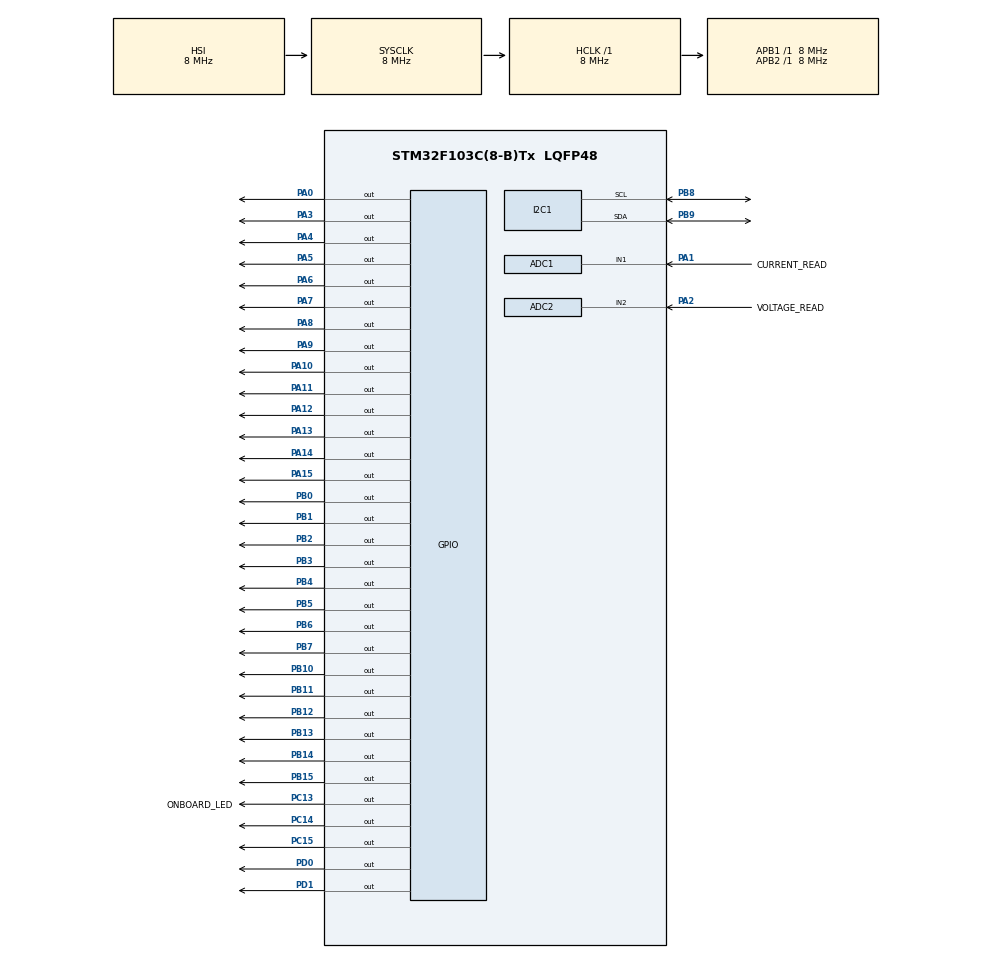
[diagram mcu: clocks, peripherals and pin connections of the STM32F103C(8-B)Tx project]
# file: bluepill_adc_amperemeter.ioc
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ADC1.Channel-4\#ChannelRegularConversion=ADC_CHANNEL_1
ADC1.ContinuousConvMode=DISABLE
ADC1.Mode=ADC_DUALMODE_REGSIMULT
ADC1.NbrOfConversion=1
ADC1.NbrOfConversionFlag=1
ADC1.Rank-4\#ChannelRegularConversion=1
ADC1.SamplingTime-4\#ChannelRegularConversion=ADC_SAMPLETIME_28CYCLES_5
ADC1.master=1
ADC2.Channel-7\#ChannelRegularConversion=ADC_CHANNEL_2
ADC2.ContinuousConvMode=DISABLE
ADC2.Mode=ADC_DUALMODE_REGSIMULT
ADC2.NbrOfConversion=1
ADC2.NbrOfConversionFlag=1
ADC2.Rank-7\#ChannelRegularConversion=1
ADC2.SamplingTime-7\#ChannelRegularConversion=ADC_SAMPLETIME_28CYCLES_5
I2C1.I2C_Mode=I2C_Fast
Mcu.Family=STM32F1
Mcu.Name=STM32F103C(8-B)Tx
Mcu.Package=LQFP48
NVIC.ADC1_2_IRQn=true\:0\:0\:false\:false\:true\:true\:true
NVIC.PriorityGroup=NVIC_PRIORITYGROUP_4
PA0-WKUP.Signal=GPIO_Output
PA1.GPIO_Label=CURRENT_READ
PA1.Signal=ADCx_IN1
PA10.Signal=GPIO_Output
PA11.Signal=GPIO_Output
PA12.Signal=GPIO_Output
PA13.Signal=GPIO_Output
PA14.Signal=GPIO_Output
PA15.Signal=GPIO_Output
PA2.GPIO_Label=VOLTAGE_READ
PA2.Signal=ADCx_IN2
PA3.Signal=GPIO_Output
PA4.Signal=GPIO_Output
PA5.Signal=GPIO_Output
PA6.Signal=GPIO_Output
PA7.Signal=GPIO_Output
PA8.Signal=GPIO_Output
PA9.Signal=GPIO_Output
PB0.Signal=GPIO_Output
PB1.Signal=GPIO_Output
PB10.Signal=GPIO_Output
PB11.Signal=GPIO_Output
PB12.Signal=GPIO_Output
PB13.Signal=GPIO_Output
PB14.Signal=GPIO_Output
PB15.Signal=GPIO_Output
PB2.Signal=GPIO_Output
PB3.Signal=GPIO_Output
PB4.Signal=GPIO_Output
PB5.Signal=GPIO_Output
PB6.Signal=GPIO_Output
PB7.Signal=GPIO_Output
PB8.Mode=I2C
PB8.Signal=I2C1_SCL
PB9.Mode=I2C
PB9.Signal=I2C1_SDA
PC13-TAMPER-RTC.GPIO_Label=ONBOARD_LED
PC13-TAMPER-RTC.GPIO_PuPd=GPIO_PULLUP
PC13-TAMPER-RTC.PinState=GPIO_PIN_SET
PC13-TAMPER-RTC.Signal=GPIO_Output
PC14-OSC32_IN.Signal=GPIO_Output
PC15-OSC32_OUT.Signal=GPIO_Output
PD0-OSC_IN.Signal=GPIO_Output
PD1-OSC_OUT.Signal=GPIO_Output
ProjectManager.HeapSize=0x200
ProjectManager.StackSize=0x400
ProjectManager.TargetToolchain=STM32CubeIDE
RCC.AHBFreq_Value=8000000
RCC.APB1Freq_Value=8000000
RCC.APB1TimFreq_Value=8000000
RCC.APB2Freq_Value=8000000
RCC.APB2TimFreq_Value=8000000
RCC.HCLKFreq_Value=8000000
RCC.SYSCLKFreq_VALUE=8000000
RCC.USBFreq_Value=8000000
SH.ADCx_IN1.0=ADC1_IN1,IN1
SH.ADCx_IN2.0=ADC2_IN2,IN2
VP_SYS_VS_ND.Mode=No_Debug
board=custom

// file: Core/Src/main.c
/* USER CODE BEGIN Header */
/**
  ******************************************************************************
  * @file           : main.c
  * @brief          : Main program body
  ******************************************************************************
  * @attention
  *
  * <h2><center>&copy; Copyright (c) 2021 STMicroelectronics.
  * All rights reserved.</center></h2>
  *
  * This software component is licensed by ST under BSD 3-Clause license,
  * the "License"; You may not use this file except in compliance with the
  * License. You may obtain a copy of the License at:
  *                        opensource.org/licenses/BSD-3-Clause
  *
  ******************************************************************************
  */
/* USER CODE END Header */
#include "main.h"

/* USER CODE BEGIN Includes */

#include <string.h>
#include "stdio.h"
#include "ssd1306.h"
#include "fonts.h"

/* USER CODE END Includes */

ADC_HandleTypeDef hadc1;
ADC_HandleTypeDef hadc2;

I2C_HandleTypeDef hi2c1;

/* USER CODE BEGIN PV */
char str_var[3];

uint16_t ADC_VAL[2];
float ADC_VOLT[2];

float result[2];
//float chargingCurrent = 0.00;
//float chargingVoltage = 0.00;

char ADC1_VAL_str[10];
char ADC2_VAL_str[10];

char ADC1_VOLT_str[10];
char ADC2_VOLT_str[10];

char chargingCurrent_str[10];
char chargingVoltage_str[10];

uint16_t var = 0;
float val = 0.0;

/* USER CODE END PV */

void SystemClock_Config(void);
static void MX_GPIO_Init(void);
static void MX_I2C1_Init(void);
static void MX_ADC1_Init(void);
static void MX_ADC2_Init(void);

/* USER CODE BEGIN 0 */

void ADC_Select_CH1 (void)
{
	ADC_ChannelConfTypeDef sConfig = {0};
	  /** Configure for the selected ADC regular channel its corresponding rank in the sequencer and its sample time.
	  */
	  sConfig.Channel = ADC_CHANNEL_1;
	  sConfig.Rank = 1;
	  sConfig.SamplingTime = ADC_SAMPLETIME_1CYCLE_5;
	  if (HAL_ADC_ConfigChannel(&hadc1, &sConfig) != HAL_OK)
	  {
	    Error_Handler();
	  }
}

void ADC_Select_CH2 (void)
{
	ADC_ChannelConfTypeDef sConfig = {0};
	  /** Configure for the selected ADC regular channel its corresponding rank in the sequencer and its sample time.
	  */
	  sConfig.Channel = ADC_CHANNEL_2;
	  sConfig.Rank = 1;
	  sConfig.SamplingTime = ADC_SAMPLETIME_1CYCLE_5;
	  if (HAL_ADC_ConfigChannel(&hadc1, &sConfig) != HAL_OK)
	  {
	    Error_Handler();
	  }
}

/* USER CODE END 0 */

int main(void)
{

  /* MCU Configuration--------------------------------------------------------*/

  /* Reset of all peripherals, Initializes the Flash interface and the Systick. */
  HAL_Init();

  /* Configure the system clock */
  SystemClock_Config();

  /* Initialize all configured peripherals */
  MX_GPIO_Init();
  MX_I2C1_Init();
  MX_ADC1_Init();
  MX_ADC2_Init();
  /* USER CODE BEGIN 2 */

  HAL_ADCEx_Calibration_Start(&hadc1);
  HAL_ADCEx_Calibration_Start(&hadc2);

  // Init lcd using one of the stm32HAL i2c typedefs
  if (ssd1306_Init(&hi2c1) != 0) {
    Error_Handler();
  }
  HAL_Delay(1000);

  ssd1306_Fill(Black);
  ssd1306_UpdateScreen(&hi2c1);

  HAL_Delay(1000);

  // Write data to local screenbuffer
  ssd1306_SetCursor(0, 0);
  ssd1306_WriteString("ssd1306", Font_11x18, White);

  ssd1306_SetCursor(0, 36);
  ssd1306_WriteString("4ilo", Font_11x18, White);

  // Draw rectangle on screen
  for (uint8_t i=0; i<28; i++) {
      for (uint8_t j=0; j<64; j++) {
          ssd1306_DrawPixel(100+i, 0+j, White);
      }
  }

  // Copy all data from local screenbuffer to the screen
  ssd1306_UpdateScreen(&hi2c1);

  /* USER CODE END 2 */

  /* Infinite loop */
  /* USER CODE BEGIN WHILE */
  while (1)
  {

/*
	  for (int var = 0; var < 100; ++var) {
		  sprintf(str_var,"%d", var);
		  ssd1306_Fill(Black);
		  ssd1306_SetCursor(0, 0);
		  ssd1306_WriteString(str_var, Font_11x18, White);
		  ssd1306_UpdateScreen(&hi2c1);

		  HAL_GPIO_TogglePin(ONBOARD_LED_GPIO_Port, ONBOARD_LED_Pin);

	  }
*/

	  var = val * 4096 / 3.3;
	  val += 0.1;
	  if (val >= 3.3) val = 0;

//	  ADC_Select_CH1();
	  HAL_ADC_Start(&hadc1);
	  HAL_ADC_PollForConversion(&hadc1, 1000);
	  ADC_VAL[0] = HAL_ADC_GetValue(&hadc1);
	  ADC_VOLT[0] = 3.300 / 4096 * ADC_VAL[0];
	  result[0] = (ADC_VOLT[0] * 1000 - 70.76) / 90.88;

	  sprintf(chargingCurrent_str, "%.2f", result[0]);
	  sprintf(ADC1_VOLT_str, "%.2f", ADC_VOLT[0]);
	  sprintf(ADC1_VAL_str, "%d", ADC_VAL[0]);
	  HAL_ADC_Stop(&hadc1);
	  HAL_Delay (10);

//	  ADC_Select_CH2();
	  HAL_ADC_Start(&hadc2);
	  HAL_ADC_PollForConversion(&hadc2, 1000);
	  ADC_VAL[1] = HAL_ADC_GetValue(&hadc2);
	  ADC_VOLT[1] = 3.300 / 4096 * ADC_VAL[1];
	  result[1] = (ADC_VOLT[1] * 1000 - 70.76) / 90.88;

	  sprintf(chargingVoltage_str, "%.2f", result[1]);
	  sprintf(ADC2_VOLT_str, "%.2f", ADC_VOLT[1]);
	  sprintf(ADC2_VAL_str, "%d", ADC_VAL[1]);
	  HAL_ADC_Stop(&hadc2);
	  HAL_Delay (10);

	  ssd1306_Fill(Black);
	  ssd1306_SetCursor(0, 0);
	  ssd1306_WriteString(ADC1_VAL_str, Font_11x18, White);

	  ssd1306_SetCursor(64, 0);
	  ssd1306_WriteString(ADC2_VAL_str, Font_11x18, White);

	  ssd1306_SetCursor(0, 20);
	  ssd1306_WriteString(ADC1_VOLT_str, Font_11x18, White);

	  ssd1306_SetCursor(64, 20);
	  ssd1306_WriteString(ADC2_VOLT_str, Font_11x18, White);

	  ssd1306_SetCursor(0, 40);
	  ssd1306_WriteString(chargingCurrent_str, Font_11x18, White);

	  ssd1306_SetCursor(64, 40);
	  ssd1306_WriteString(chargingVoltage_str, Font_11x18, White);

	  ssd1306_UpdateScreen(&hi2c1);

	  HAL_Delay (10);

    /* USER CODE END WHILE */

  }
}

void SystemClock_Config(void)
{
  RCC_OscInitTypeDef RCC_OscInitStruct = {0};
  RCC_ClkInitTypeDef RCC_ClkInitStruct = {0};
  RCC_PeriphCLKInitTypeDef PeriphClkInit = {0};

  /** Initializes the RCC Oscillators according to the specified parameters
  * in the RCC_OscInitTypeDef structure.
  */
  RCC_OscInitStruct.OscillatorType = RCC_OSCILLATORTYPE_HSI;
  RCC_OscInitStruct.HSIState = RCC_HSI_ON;
  RCC_OscInitStruct.HSICalibrationValue = RCC_HSICALIBRATION_DEFAULT;
  RCC_OscInitStruct.PLL.PLLState = RCC_PLL_NONE;
  if (HAL_RCC_OscConfig(&RCC_OscInitStruct) != HAL_OK)
  {
    Error_Handler();
  }
  /** Initializes the CPU, AHB and APB buses clocks
  */
  RCC_ClkInitStruct.ClockType = RCC_CLOCKTYPE_HCLK|RCC_CLOCKTYPE_SYSCLK
                              |RCC_CLOCKTYPE_PCLK1|RCC_CLOCKTYPE_PCLK2;
  RCC_ClkInitStruct.SYSCLKSource = RCC_SYSCLKSOURCE_HSI;
  RCC_ClkInitStruct.AHBCLKDivider = RCC_SYSCLK_DIV1;
  RCC_ClkInitStruct.APB1CLKDivider = RCC_HCLK_DIV1;
  RCC_ClkInitStruct.APB2CLKDivider = RCC_HCLK_DIV1;

  if (HAL_RCC_ClockConfig(&RCC_ClkInitStruct, FLASH_LATENCY_0) != HAL_OK)
  {
    Error_Handler();
  }
  PeriphClkInit.PeriphClockSelection = RCC_PERIPHCLK_ADC;
  PeriphClkInit.AdcClockSelection = RCC_ADCPCLK2_DIV2;
  if (HAL_RCCEx_PeriphCLKConfig(&PeriphClkInit) != HAL_OK)
  {
    Error_Handler();
  }
}

static void MX_ADC1_Init(void)
{

  ADC_MultiModeTypeDef multimode = {0};
  ADC_ChannelConfTypeDef sConfig = {0};

  /** Common config
  */
  hadc1.Instance = ADC1;
  hadc1.Init.ScanConvMode = ADC_SCAN_DISABLE;
  hadc1.Init.ContinuousConvMode = DISABLE;
  hadc1.Init.DiscontinuousConvMode = DISABLE;
  hadc1.Init.ExternalTrigConv = ADC_SOFTWARE_START;
  hadc1.Init.DataAlign = ADC_DATAALIGN_RIGHT;
  hadc1.Init.NbrOfConversion = 1;
  if (HAL_ADC_Init(&hadc1) != HAL_OK)
  {
    Error_Handler();
  }
  /** Configure the ADC multi-mode
  */
  multimode.Mode = ADC_DUALMODE_REGSIMULT;
  if (HAL_ADCEx_MultiModeConfigChannel(&hadc1, &multimode) != HAL_OK)
  {
    Error_Handler();
  }
  /** Configure Regular Channel
  */
  sConfig.Channel = ADC_CHANNEL_1;
  sConfig.Rank = ADC_REGULAR_RANK_1;
  sConfig.SamplingTime = ADC_SAMPLETIME_28CYCLES_5;
  if (HAL_ADC_ConfigChannel(&hadc1, &sConfig) != HAL_OK)
  {
    Error_Handler();
  }

}

static void MX_ADC2_Init(void)
{

  ADC_ChannelConfTypeDef sConfig = {0};

  /** Common config
  */
  hadc2.Instance = ADC2;
  hadc2.Init.ScanConvMode = ADC_SCAN_DISABLE;
  hadc2.Init.ContinuousConvMode = DISABLE;
  hadc2.Init.DiscontinuousConvMode = DISABLE;
  hadc2.Init.ExternalTrigConv = ADC_SOFTWARE_START;
  hadc2.Init.DataAlign = ADC_DATAALIGN_RIGHT;
  hadc2.Init.NbrOfConversion = 1;
  if (HAL_ADC_Init(&hadc2) != HAL_OK)
  {
    Error_Handler();
  }
  /** Configure Regular Channel
  */
  sConfig.Channel = ADC_CHANNEL_2;
  sConfig.Rank = ADC_REGULAR_RANK_1;
  sConfig.SamplingTime = ADC_SAMPLETIME_28CYCLES_5;
  if (HAL_ADC_ConfigChannel(&hadc2, &sConfig) != HAL_OK)
  {
    Error_Handler();
  }

}

static void MX_I2C1_Init(void)
{

  hi2c1.Instance = I2C1;
  hi2c1.Init.ClockSpeed = 400000;
  hi2c1.Init.DutyCycle = I2C_DUTYCYCLE_2;
  hi2c1.Init.OwnAddress1 = 0;
  hi2c1.Init.AddressingMode = I2C_ADDRESSINGMODE_7BIT;
  hi2c1.Init.DualAddressMode = I2C_DUALADDRESS_DISABLE;
  hi2c1.Init.OwnAddress2 = 0;
  hi2c1.Init.GeneralCallMode = I2C_GENERALCALL_DISABLE;
  hi2c1.Init.NoStretchMode = I2C_NOSTRETCH_DISABLE;
  if (HAL_I2C_Init(&hi2c1) != HAL_OK)
  {
    Error_Handler();
  }

}

static void MX_GPIO_Init(void)
{
  GPIO_InitTypeDef GPIO_InitStruct = {0};

  /* GPIO Ports Clock Enable */
  __HAL_RCC_GPIOC_CLK_ENABLE();
  __HAL_RCC_GPIOD_CLK_ENABLE();
  __HAL_RCC_GPIOA_CLK_ENABLE();
  __HAL_RCC_GPIOB_CLK_ENABLE();

  /*Configure GPIO pin Output Level */
  HAL_GPIO_WritePin(ONBOARD_LED_GPIO_Port, ONBOARD_LED_Pin, GPIO_PIN_SET);

  /*Configure GPIO pin Output Level */
  HAL_GPIO_WritePin(GPIOC, GPIO_PIN_14|GPIO_PIN_15, GPIO_PIN_RESET);

  /*Configure GPIO pin Output Level */
  HAL_GPIO_WritePin(GPIOD, GPIO_PIN_0|GPIO_PIN_1, GPIO_PIN_RESET);

  /*Configure GPIO pin Output Level */
  HAL_GPIO_WritePin(GPIOA, GPIO_PIN_0|GPIO_PIN_3|GPIO_PIN_4|GPIO_PIN_5
                          |GPIO_PIN_6|GPIO_PIN_7|GPIO_PIN_8|GPIO_PIN_9
                          |GPIO_PIN_10|GPIO_PIN_11|GPIO_PIN_12|GPIO_PIN_13
                          |GPIO_PIN_14|GPIO_PIN_15, GPIO_PIN_RESET);

  /*Configure GPIO pin Output Level */
  HAL_GPIO_WritePin(GPIOB, GPIO_PIN_0|GPIO_PIN_1|GPIO_PIN_2|GPIO_PIN_10
                          |GPIO_PIN_11|GPIO_PIN_12|GPIO_PIN_13|GPIO_PIN_14
                          |GPIO_PIN_15|GPIO_PIN_3|GPIO_PIN_4|GPIO_PIN_5
                          |GPIO_PIN_6|GPIO_PIN_7, GPIO_PIN_RESET);

  /*Configure GPIO pin : ONBOARD_LED_Pin */
  GPIO_InitStruct.Pin = ONBOARD_LED_Pin;
  GPIO_InitStruct.Mode = GPIO_MODE_OUTPUT_PP;
  GPIO_InitStruct.Pull = GPIO_PULLUP;
  GPIO_InitStruct.Speed = GPIO_SPEED_FREQ_LOW;
  HAL_GPIO_Init(ONBOARD_LED_GPIO_Port, &GPIO_InitStruct);

  /*Configure GPIO pins : PC14 PC15 */
  GPIO_InitStruct.Pin = GPIO_PIN_14|GPIO_PIN_15;
  GPIO_InitStruct.Mode = GPIO_MODE_OUTPUT_PP;
  GPIO_InitStruct.Pull = GPIO_NOPULL;
  GPIO_InitStruct.Speed = GPIO_SPEED_FREQ_LOW;
  HAL_GPIO_Init(GPIOC, &GPIO_InitStruct);

  /*Configure GPIO pins : PD0 PD1 */
  GPIO_InitStruct.Pin = GPIO_PIN_0|GPIO_PIN_1;
  GPIO_InitStruct.Mode = GPIO_MODE_OUTPUT_PP;
  GPIO_InitStruct.Pull = GPIO_NOPULL;
  GPIO_InitStruct.Speed = GPIO_SPEED_FREQ_LOW;
  HAL_GPIO_Init(GPIOD, &GPIO_InitStruct);

  /*Configure GPIO pins : PA0 PA3 PA4 PA5
                           PA6 PA7 PA8 PA9
                           PA10 PA11 PA12 PA13
                           PA14 PA15 */
  GPIO_InitStruct.Pin = GPIO_PIN_0|GPIO_PIN_3|GPIO_PIN_4|GPIO_PIN_5
                          |GPIO_PIN_6|GPIO_PIN_7|GPIO_PIN_8|GPIO_PIN_9
                          |GPIO_PIN_10|GPIO_PIN_11|GPIO_PIN_12|GPIO_PIN_13
                          |GPIO_PIN_14|GPIO_PIN_15;
  GPIO_InitStruct.Mode = GPIO_MODE_OUTPUT_PP;
  GPIO_InitStruct.Pull = GPIO_NOPULL;
  GPIO_InitStruct.Speed = GPIO_SPEED_FREQ_LOW;
  HAL_GPIO_Init(GPIOA, &GPIO_InitStruct);

  /*Configure GPIO pins : PB0 PB1 PB2 PB10
                           PB11 PB12 PB13 PB14
                           PB15 PB3 PB4 PB5
                           PB6 PB7 */
  GPIO_InitStruct.Pin = GPIO_PIN_0|GPIO_PIN_1|GPIO_PIN_2|GPIO_PIN_10
                          |GPIO_PIN_11|GPIO_PIN_12|GPIO_PIN_13|GPIO_PIN_14
                          |GPIO_PIN_15|GPIO_PIN_3|GPIO_PIN_4|GPIO_PIN_5
                          |GPIO_PIN_6|GPIO_PIN_7;
  GPIO_InitStruct.Mode = GPIO_MODE_OUTPUT_PP;
  GPIO_InitStruct.Pull = GPIO_NOPULL;
  GPIO_InitStruct.Speed = GPIO_SPEED_FREQ_LOW;
  HAL_GPIO_Init(GPIOB, &GPIO_InitStruct);

  /*Configure peripheral I/O remapping */
  __HAL_AFIO_REMAP_PD01_ENABLE();

}

void Error_Handler(void)
{
  __disable_irq();
  while (1)
  {
  }
}

/************************ (C) COPYRIGHT STMicroelectronics *****END OF FILE****/
